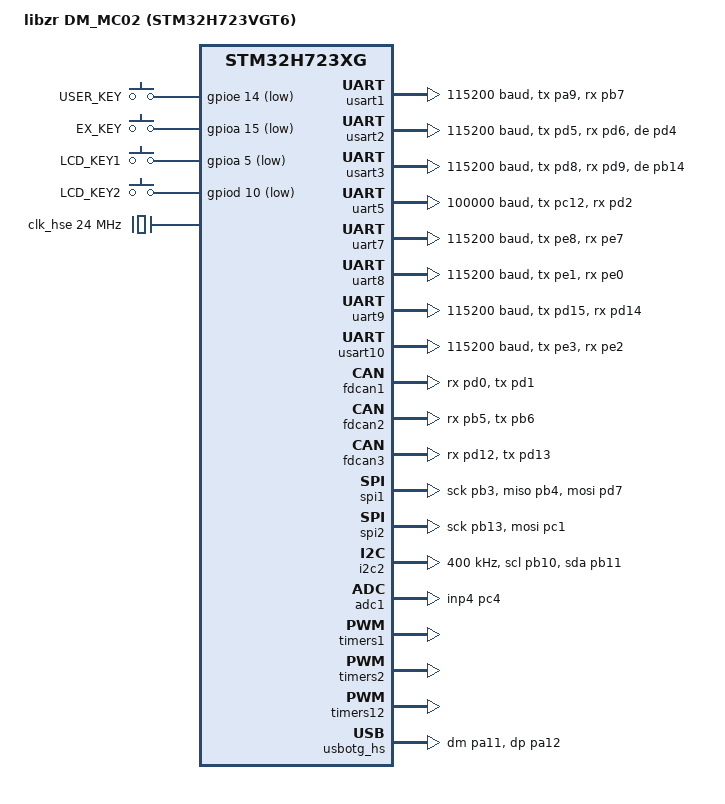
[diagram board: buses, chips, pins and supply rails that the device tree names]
/*
 * Copyright (c) 2026 libzr
 *
 * SPDX-License-Identifier: Apache-2.0
 *
 * libzr DM_MC02 板级设备树
 *   MCU : STM32H723VGT6 (LQFP100, 1 MB Flash / 320 KB AXI SRAM)
 *   晶振: HSE 24 MHz
 *   SYSCLK 480 MHz, HCLK 240 MHz, APB1..4 120 MHz
 *   FDCAN 内核时钟 120 MHz (PLL1_Q)
 *   USB 内核时钟 48 MHz (PLL3_Q)
 *   调试: CMSIS-DAP / JLink, SWD
 *
 * 引脚定义来自 BetaRobot/cubemx/DM_MC02 与 bsp/bsp_map/DM_MC02。
 */

/dts-v1/;

#include <st/h7/stm32h723Xg.dtsi>
#include <st/h7/stm32h723vgtx-pinctrl.dtsi>
#include <zephyr/dt-bindings/input/input-event-codes.h>
#include <zephyr/dt-bindings/gpio/gpio.h>
#include <zephyr/dt-bindings/i2c/i2c.h>

/ {
	model = "libzr DM_MC02 (STM32H723VGT6)";
	compatible = "libzr,dm-mc02";

	chosen {
		/* UART7 作为日志口 */
		zephyr,console = &uart7;
		zephyr,shell-uart = &uart7;
		zephyr,sram = &sram0;
		zephyr,dtcm = &dtcm;
		zephyr,flash = &flash0;
		zephyr,canbus = &fdcan1;
	};

	gpio_keys: gpio_keys {
		compatible = "gpio-keys";

		/* 按键按低有效、内部上拉处理；若硬件相反请改为 GPIO_ACTIVE_HIGH */
		user_key: button_0 {
			label = "USER_KEY";
			gpios = <&gpioe 14 (GPIO_ACTIVE_LOW | GPIO_PULL_UP)>;
			zephyr,code = <INPUT_KEY_0>;
		};

		ex_key: button_1 {
			label = "EX_KEY";
			gpios = <&gpioa 15 (GPIO_ACTIVE_LOW | GPIO_PULL_UP)>;
			zephyr,code = <INPUT_KEY_1>;
		};

		lcd_key1: button_2 {
			label = "LCD_KEY1";
			gpios = <&gpioa 5 (GPIO_ACTIVE_LOW | GPIO_PULL_UP)>;
			zephyr,code = <INPUT_KEY_2>;
		};

		lcd_key2: button_3 {
			label = "LCD_KEY2";
			gpios = <&gpiod 10 (GPIO_ACTIVE_LOW | GPIO_PULL_UP)>;
			zephyr,code = <INPUT_KEY_3>;
		};
	};

	aliases {
		sw0 = &user_key;
		sw1 = &ex_key;
		sw2 = &lcd_key1;
		sw3 = &lcd_key2;
	};
};

/* ------------------------------------------------------------------------- */
/* 时钟                                                                       */
/* ------------------------------------------------------------------------- */

&clk_hse {
	clock-frequency = <DT_FREQ_M(24)>;
	status = "okay";
};

/* PLL1: 24/2*40 = 480 MHz */
&pll {
	div-m = <2>;
	mul-n = <40>;
	div-p = <1>;
	div-q = <4>;	/* 120 MHz, FDCAN */
	div-r = <2>;	/* 240 MHz */
	clocks = <&clk_hse>;
	status = "okay";
};

/* PLL3: 24/2*16 = 192 MHz -> Q = 48 MHz, USB */
&pll3 {
	div-m = <2>;
	mul-n = <16>;
	div-p = <2>;
	div-q = <4>;
	div-r = <2>;
	clocks = <&clk_hse>;
	status = "okay";
};

&rcc {
	clocks = <&pll>;
	clock-frequency = <DT_FREQ_M(480)>;
	d1cpre = <1>;	/* CPU 480 MHz */
	hpre = <2>;	/* HCLK 240 MHz */
	d1ppre = <2>;	/* APB3 120 MHz */
	d2ppre1 = <2>;	/* APB1 120 MHz */
	d2ppre2 = <2>;	/* APB2 120 MHz */
	d3ppre = <2>;	/* APB4 120 MHz */
};

&pwr {
	power-supply = "ldo";
};

/* ------------------------------------------------------------------------- */
/* 串口                                                                       */
/* ------------------------------------------------------------------------- */

/* USART1: 通用 (921600 8N1) */
&usart1 {
	pinctrl-0 = <&usart1_tx_pa9 &usart1_rx_pb7>;
	pinctrl-names = "default";
	current-speed = <115200>;
	status = "okay";
};

/* USART2: RS485，DE = PD4 */
&usart2 {
	pinctrl-0 = <&usart2_tx_pd5 &usart2_rx_pd6 &usart2_de_pd4>;
	pinctrl-names = "default";
	current-speed = <115200>;
	de-enable;
	status = "okay";
};

/* USART3: RS485，DE = PB14 */
&usart3 {
	pinctrl-0 = <&usart3_tx_pd8 &usart3_rx_pd9 &usart3_de_pb14>;
	pinctrl-names = "default";
	current-speed = <115200>;
	de-enable;
	status = "okay";
};

/* UART5: SBUS 接收 (100000 8E1) */
&uart5 {
	pinctrl-0 = <&uart5_tx_pc12 &uart5_rx_pd2>;
	pinctrl-names = "default";
	current-speed = <100000>;
	status = "okay";
};

/* UART7: 日志 / 控制台 */
&uart7 {
	pinctrl-0 = <&uart7_tx_pe8 &uart7_rx_pe7>;
	pinctrl-names = "default";
	current-speed = <115200>;
	status = "okay";
};

/* UART8 / UART9 / USART10: 扩展串口 */
&uart8 {
	pinctrl-0 = <&uart8_tx_pe1 &uart8_rx_pe0>;
	pinctrl-names = "default";
	current-speed = <115200>;
	status = "okay";
};

&uart9 {
	pinctrl-0 = <&uart9_tx_pd15 &uart9_rx_pd14>;
	pinctrl-names = "default";
	current-speed = <115200>;
	status = "okay";
};

&usart10 {
	pinctrl-0 = <&usart10_tx_pe3 &usart10_rx_pe2>;
	pinctrl-names = "default";
	current-speed = <115200>;
	status = "okay";
};

/* ------------------------------------------------------------------------- */
/* FDCAN                                                                      */
/* ------------------------------------------------------------------------- */

&fdcan1 {
	pinctrl-0 = <&fdcan1_rx_pd0 &fdcan1_tx_pd1>;
	pinctrl-names = "default";
	clocks = <&rcc STM32_CLOCK(APB1_2, 8)>,
		 <&rcc STM32_SRC_PLL1_Q FDCAN_SEL(1)>;
	status = "okay";
};

&fdcan2 {
	pinctrl-0 = <&fdcan2_rx_pb5 &fdcan2_tx_pb6>;
	pinctrl-names = "default";
	clocks = <&rcc STM32_CLOCK(APB1_2, 8)>,
		 <&rcc STM32_SRC_PLL1_Q FDCAN_SEL(1)>;
	status = "okay";
};

&fdcan3 {
	pinctrl-0 = <&fdcan3_rx_pd12 &fdcan3_tx_pd13>;
	pinctrl-names = "default";
	clocks = <&rcc STM32_CLOCK(APB1_2, 8)>,
		 <&rcc STM32_SRC_PLL1_Q FDCAN_SEL(1)>;
	status = "okay";
};

/* ------------------------------------------------------------------------- */
/* SPI                                                                        */
/* ------------------------------------------------------------------------- */

/* SPI1: BMI088 (PB3=SCK, PB4=MISO, PD7=MOSI) */
&spi1 {
	pinctrl-0 = <&spi1_sck_pb3 &spi1_miso_pb4 &spi1_mosi_pd7>;
	pinctrl-names = "default";
	status = "okay";
};

/* SPI2: PB13=SCK, PC2_C=MISO, PC1=MOSI */
&spi2 {
	pinctrl-0 = <&spi2_sck_pb13 &spi2_miso_pc2_c &spi2_mosi_pc1>;
	pinctrl-names = "default";
	status = "okay";
};

/* ------------------------------------------------------------------------- */
/* I2C                                                                        */
/* ------------------------------------------------------------------------- */

/* I2C2: PB10=SCL, PB11=SDA */
&i2c2 {
	pinctrl-0 = <&i2c2_scl_pb10 &i2c2_sda_pb11>;
	pinctrl-names = "default";
	clock-frequency = <I2C_BITRATE_FAST>;
	status = "okay";
};

/* ------------------------------------------------------------------------- */
/* ADC                                                                        */
/* ------------------------------------------------------------------------- */

/* ADC1_INP4: PC4，电池电压 */
&adc1 {
	pinctrl-0 = <&adc1_inp4_pc4>;
	pinctrl-names = "default";
	st,adc-clock-source = "SYNC";
	st,adc-prescaler = <4>;
	status = "okay";
};

/* ------------------------------------------------------------------------- */
/* PWM                                                                        */
/* ------------------------------------------------------------------------- */

/* TIM1: PE9 (CH1) / PE13 (CH3) */
&timers1 {
	status = "okay";

	pwm1: pwm {
		status = "okay";
		pinctrl-0 = <&tim1_ch1_pe9 &tim1_ch3_pe13>;
		pinctrl-names = "default";
	};
};

/* TIM2: PA0 (CH1) / PA2 (CH3) */
&timers2 {
	status = "okay";

	pwm2: pwm {
		status = "okay";
		pinctrl-0 = <&tim2_ch1_pa0 &tim2_ch3_pa2>;
		pinctrl-names = "default";
	};
};

/* TIM12_CH2: PB15，蜂鸣器 (4 kHz) */
&timers12 {
	status = "okay";

	pwm12: pwm {
		status = "okay";
		pinctrl-0 = <&tim12_ch2_pb15>;
		pinctrl-names = "default";
	};
};

/* ------------------------------------------------------------------------- */
/* USB                                                                        */
/* ------------------------------------------------------------------------- */

/* USB OTG HS 走内部 FS PHY；内核时钟取 PLL3_Q = 48 MHz */
zephyr_udc0: &usbotg_hs {
	pinctrl-0 = <&usb_otg_hs_dm_pa11 &usb_otg_hs_dp_pa12>;
	pinctrl-names = "default";
	clocks = <&rcc STM32_CLOCK(AHB1, 25)>,
		 <&rcc STM32_SRC_PLL3_Q USB_SEL(2)>;
	status = "okay";
};
